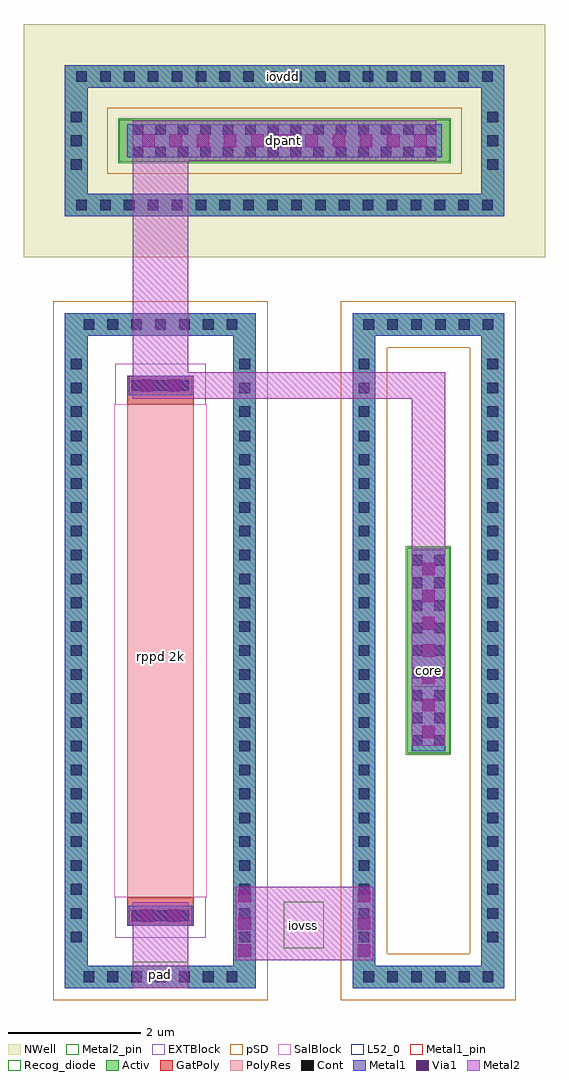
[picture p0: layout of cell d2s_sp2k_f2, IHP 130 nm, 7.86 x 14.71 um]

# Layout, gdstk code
from math import pi, radians
import gdstk
lib = gdstk.Library(unit=1e-6, precision=1e-09)
def R(c, l, rs):  # rectangles x0, y0, x1, y1
    for r in rs: c.add(gdstk.rectangle(r[:2], r[2:], *l))
def A(c, l, x, y, w, h, nx, ny, dx, dy):  # array of equal rectangles
    R(c, l, [(x+i*dx, y+j*dy, x+i*dx+w, y+j*dy+h) for i in range(nx) for j in range(ny)])
Activ = (1, 0)
GatPoly = (5, 0)
Cont = (6, 0)
Metal1 = (8, 0)
Metal1_pin = (8, 2)
Metal2 = (10, 0)
Metal2_pin = (10, 2)
pSD = (14, 0)
Via1 = (19, 0)
SalBlock = (28, 0)
NWell = (31, 0)
L52_0 = (52, 0)
Recog_diode = (99, 31)
EXTBlock = (111, 0)
PolyRes = (128, 0)

rppd = lib.new_cell('rppd')
R(rppd, GatPoly, [(0,-0.43,1,-0.2), (0,-0.2,1,0), (0,7.435,1,7.635), (0,7.635,1,7.865)])
R(rppd, Cont, [(0.07,-0.36,0.93,-0.2), (0.07,7.635,0.93,7.795)])
R(rppd, Metal1, [(0.02,-0.43,0.98,-0.13), (0.02,7.565,0.98,7.865)])
R(rppd, Metal1_pin, [(0.02,-0.43,0.98,-0.13), (0.02,7.565,0.98,7.865)])
R(rppd, pSD, [(-0.18,-0.61,1.18,0), (-0.18,0,1.18,7.435), (-0.18,7.435,1.18,8.045)])
R(rppd, SalBlock, [(-0.2,0,1.2,7.435)])
R(rppd, L52_0, [(0,0,1,7.435)])
R(rppd, EXTBlock, [(-0.18,-0.61,1.18,0), (-0.2,0,1.2,7.435), (-0.18,7.435,1.18,8.045)])
R(rppd, PolyRes, [(0,0,1,7.435)])
rppd.add(gdstk.Label('rppd r=1991.571', (0.5,3.717), layer=63, texttype=0))
rppd.add(gdstk.Label('rppd', (0.5,3.717), layer=52, texttype=0))

dantenna = lib.new_cell('dantenna')
R(dantenna, Activ, [(0,0,0.64,3.1)])
A(dantenna, Cont, 0.07, 0.11, 0.16, 0.16, 1, 9, 0, 0.34)
A(dantenna, Cont, 0.41, 0.11, 0.16, 0.16, 1, 9, 0, 0.34)
R(dantenna, Metal1, [(0.07,0.11,0.57,2.99), (0.07,0.11,0.57,2.99)])
R(dantenna, Recog_diode, [(-0.02,-0.02,0.66,3.12)])
dantenna.add(gdstk.Label('dant', (0.32,1.55), layer=63, texttype=0))

dpantenna = lib.new_cell('dpantenna')
R(dpantenna, Activ, [(0,0,0.64,4.98)])
A(dpantenna, Cont, 0.07, 0.2, 0.16, 0.16, 1, 14, 0, 0.34)
A(dpantenna, Cont, 0.41, 0.2, 0.16, 0.16, 1, 14, 0, 0.34)
R(dpantenna, Metal1, [(0.07,0.2,0.57,4.78), (0.07,0.2,0.57,4.78)])
R(dpantenna, pSD, [(-0.18,-0.18,0.82,5.16)])
R(dpantenna, NWell, [(-0.31,-0.31,0.95,5.29)])
R(dpantenna, Recog_diode, [(-0.02,-0.02,0.66,5)])
dpantenna.add(gdstk.Label('dpant', (0.32,2.49), layer=63, texttype=0))

d2s_sp2k_f2 = lib.new_cell('d2s_sp2k_f2')
R(d2s_sp2k_f2, Activ, [(0,0,2.88,0.34), (4.34,0,6.62,0.34), (0,0.34,0.34,9.835), (2.54,0.34,2.88,9.835), (4.34,0.34,4.68,9.835), (6.28,0.34,6.62,9.835), (0,9.835,2.88,10.175), (4.34,9.835,6.62,10.175), (0,11.635,6.62,11.975), (0,11.975,0.34,13.575), (6.28,11.975,6.62,13.575), (0,13.575,6.62,13.915)])
A(d2s_sp2k_f2, Cont, 0.28, 0.09, 0.16, 0.16, 7, 2, 0.36, 9.835)
A(d2s_sp2k_f2, Cont, 4.5, 0.09, 0.16, 0.16, 6, 2, 0.36, 9.835)
A(d2s_sp2k_f2, Cont, 0.09, 1.41, 0.16, 0.16, 1, 3, 0, 0.36)
A(d2s_sp2k_f2, Cont, 2.63, 1.41, 0.16, 0.16, 1, 3, 0, 0.36)
A(d2s_sp2k_f2, Cont, 4.43, 1.41, 0.16, 0.16, 1, 3, 0, 0.36)
A(d2s_sp2k_f2, Cont, 6.37, 1.41, 0.16, 0.16, 1, 3, 0, 0.36)
A(d2s_sp2k_f2, Cont, 0.09, 2.85, 0.16, 0.16, 1, 3, 0, 0.36)
A(d2s_sp2k_f2, Cont, 2.63, 2.85, 0.16, 0.16, 1, 3, 0, 0.36)
A(d2s_sp2k_f2, Cont, 4.43, 2.85, 0.16, 0.16, 1, 3, 0, 0.36)
A(d2s_sp2k_f2, Cont, 6.37, 2.85, 0.16, 0.16, 1, 3, 0, 0.36)
A(d2s_sp2k_f2, Cont, 0.09, 4.65, 0.16, 0.16, 1, 4, 0, 0.36)
A(d2s_sp2k_f2, Cont, 2.63, 4.65, 0.16, 0.16, 1, 4, 0, 0.36)
A(d2s_sp2k_f2, Cont, 4.43, 4.65, 0.16, 0.16, 1, 4, 0, 0.36)
A(d2s_sp2k_f2, Cont, 6.37, 4.65, 0.16, 0.16, 1, 4, 0, 0.36)
A(d2s_sp2k_f2, Cont, 0.17, 11.725, 0.16, 0.16, 18, 2, 0.36, 1.94)
A(d2s_sp2k_f2, Cont, 0.09, 12.335, 0.16, 0.16, 1, 3, 0, 0.36)
A(d2s_sp2k_f2, Cont, 6.37, 12.335, 0.16, 0.16, 1, 3, 0, 0.36)
R(d2s_sp2k_f2, Cont, [(0.09,0.69,0.25,0.85), (2.63,0.69,2.79,0.85), (4.43,0.69,4.59,0.85), (6.37,0.69,6.53,0.85), (0.09,1.045,0.25,1.205), (2.63,1.045,2.79,1.205), (4.43,1.045,4.59,1.205), (6.37,1.045,6.53,1.205), (0.09,2.485,0.25,2.645), (2.63,2.485,2.79,2.645), (4.43,2.485,4.59,2.645), (6.37,2.485,6.53,2.645), (0.09,3.925,0.25,4.085), (2.63,3.925,2.79,4.085), (4.43,3.925,4.59,4.085), (6.37,3.925,6.53,4.085), (0.09,4.285,0.25,4.445), (2.63,4.285,2.79,4.445), (4.43,4.285,4.59,4.445), (6.37,4.285,6.53,4.445), (0.09,6.085,0.25,6.245), (2.63,6.085,2.79,6.245), (4.43,6.085,4.59,6.245), (6.37,6.085,6.53,6.245), (0.09,6.45,0.25,6.61), (2.63,6.45,2.79,6.61), (4.43,6.45,4.59,6.61), (6.37,6.45,6.53,6.61), (0.09,6.81,0.25,6.97), (2.63,6.81,2.79,6.97), (4.43,6.81,4.59,6.97), (6.37,6.81,6.53,6.97), (0.09,7.165,0.25,7.325), (2.63,7.165,2.79,7.325), (4.43,7.165,4.59,7.325), (6.37,7.165,6.53,7.325), (0.09,7.53,0.25,7.69), (2.63,7.53,2.79,7.69), (4.43,7.53,4.59,7.69), (6.37,7.53,6.53,7.69), (0.09,7.885,0.25,8.045), (2.63,7.885,2.79,8.045), (4.43,7.885,4.59,8.045), (6.37,7.885,6.53,8.045), (0.09,8.245,0.25,8.405), (2.63,8.245,2.79,8.405), (4.43,8.245,4.59,8.405), (6.37,8.245,6.53,8.405), (0.09,8.61,0.25,8.77), (2.63,8.61,2.79,8.77), (4.43,8.61,4.59,8.77), (6.37,8.61,6.53,8.77), (0.09,8.965,0.25,9.125), (2.63,8.965,2.79,9.125), (4.43,8.965,4.59,9.125), (6.37,8.965,6.53,9.125), (0.09,9.33,0.25,9.49), (2.63,9.33,2.79,9.49), (4.43,9.33,4.59,9.49), (6.37,9.33,6.53,9.49)])
R(d2s_sp2k_f2, Metal1, [(0,0,2.88,0.34), (4.34,0,6.62,0.34), (0,0.34,0.34,9.835), (2.54,0.34,2.88,9.835), (4.34,0.34,4.68,9.835), (6.28,0.34,6.62,9.835), (5.23,3.57,5.73,6.61), (0,9.835,2.88,10.175), (4.34,9.835,6.62,10.175), (0,11.635,6.62,11.975), (0,11.975,0.34,13.575), (6.28,11.975,6.62,13.575), (0.94,12.525,5.68,13.025), (0,13.575,6.62,13.915)])
R(d2s_sp2k_f2, Metal1_pin, [(2,13.575,4.6,13.915)])
R(d2s_sp2k_f2, Metal2, [(1.02,0,1.86,1.29), (2.575,0.42,4.645,1.53), (5.23,3.65,5.73,9.285), (1.02,8.885,5.73,9.285), (1.02,8.885,1.86,13.075), (1.02,12.475,5.6,13.075)])
R(d2s_sp2k_f2, Metal2_pin, [(1.02,0,1.86,0.4), (3.3,0.6,3.9,1.3), (5.23,4.54,5.73,5.04)])
R(d2s_sp2k_f2, pSD, [(-0.18,-0.18,3.06,0.52), (4.16,-0.18,6.8,0.52), (0,0,2.88,10.175), (-0.18,0.16,0.52,10.015), (2.36,0.16,3.06,10.015), (4.16,0.16,4.86,10.015), (6.1,0.16,6.8,10.015), (-0.18,9.655,3.06,10.355), (4.16,9.655,6.8,10.355)])
A(d2s_sp2k_f2, Via1, 2.615, 0.47, 0.19, 0.19, 1, 3, 0, 0.41)
A(d2s_sp2k_f2, Via1, 4.415, 0.47, 0.19, 0.19, 1, 3, 0, 0.41)
A(d2s_sp2k_f2, Via1, 5.385, 3.765, 0.19, 0.19, 1, 7, 0, 0.41)
A(d2s_sp2k_f2, Via1, 1.165, 12.68, 0.19, 0.19, 11, 1, 0.41, 0)
R(d2s_sp2k_f2, Via1, [(1.14,0.995,1.33,1.185), (1.55,0.995,1.74,1.185), (1.14,8.99,1.33,9.18), (1.55,8.99,1.74,9.18)])
R(d2s_sp2k_f2, NWell, [(-0.62,11.015,7.24,14.535)])
d2s_sp2k_f2.add(gdstk.Reference(rppd, (0.94,1.37)))
d2s_sp2k_f2.add(gdstk.Reference(dantenna, (5.16,3.54)))
d2s_sp2k_f2.add(gdstk.Reference(dpantenna, (5.8,12.455), rotation=pi/2))
d2s_sp2k_f2.add(gdstk.Label('iovdd', (3.3,13.745), layer=8, texttype=25))
d2s_sp2k_f2.add(gdstk.Label('pad', (1.44,0.2), layer=10, texttype=25))
d2s_sp2k_f2.add(gdstk.Label('core', (5.48,4.79), layer=10, texttype=25))
d2s_sp2k_f2.add(gdstk.Label('iovss', (3.6,0.95), layer=10, texttype=25))
d2s_sp2k_f2.add(gdstk.Label('rppd 2k', (1.44,5), layer=63, texttype=0))
d2s_sp2k_f2.add(gdstk.Label('dant', (5.48,5), layer=63, texttype=0))
d2s_sp2k_f2.add(gdstk.Label('dpant', (3.3,12.775), layer=63, texttype=0))

lib.write_gds('d2s_sp2k_f2.gds')
